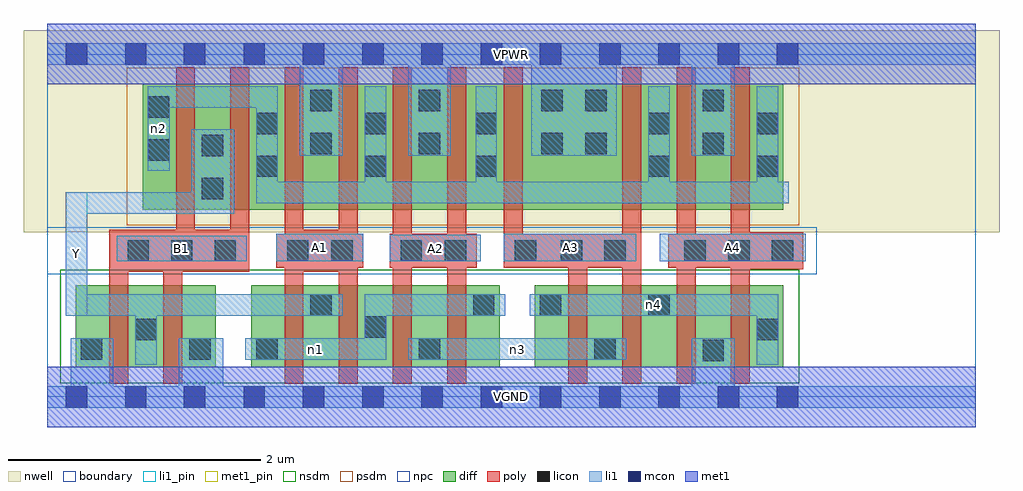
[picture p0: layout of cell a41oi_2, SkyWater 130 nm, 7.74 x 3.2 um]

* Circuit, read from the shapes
.subckt a41oi_2 A1 A2 A3 A4 B1 VGND VPWR Y n1 n2 n3 n4
XM1 Y B1 VGND VSUBS sky130_fd_pr__nfet_01v8 w=0.65 l=0.15 m=2
XM2 Y A1 n1 VSUBS sky130_fd_pr__nfet_01v8 w=0.65 l=0.15 m=2
XM3 n3 A2 n1 VSUBS sky130_fd_pr__nfet_01v8 w=0.65 l=0.15 m=2
XM4 n3 A3 n4 VSUBS sky130_fd_pr__nfet_01v8 w=0.65 l=0.15 m=2
XM5 VGND A4 n4 VSUBS sky130_fd_pr__nfet_01v8 w=0.65 l=0.15 m=2
XM6 Y B1 n2 n5 sky130_fd_pr__pfet_01v8 w=1 l=0.15 m=2
XM7 VPWR A1 n2 n5 sky130_fd_pr__pfet_01v8 w=1 l=0.15 m=2
XM8 VPWR A2 n2 n5 sky130_fd_pr__pfet_01v8 w=1 l=0.15 m=2
XM9 VPWR A3 n2 n5 sky130_fd_pr__pfet_01v8 w=1 l=0.15 m=2
XM10 VPWR A4 n2 n5 sky130_fd_pr__pfet_01v8 w=1 l=0.15 m=2
.ends

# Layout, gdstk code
import gdstk
lib = gdstk.Library(unit=1e-6, precision=1e-09)
def R(c, l, rs):  # rectangles x0, y0, x1, y1
    for r in rs: c.add(gdstk.rectangle(r[:2], r[2:], *l))
def A(c, l, x, y, w, h, nx, ny, dx, dy):  # array of equal rectangles
    R(c, l, [(x+i*dx, y+j*dy, x+i*dx+w, y+j*dy+h) for i in range(nx) for j in range(ny)])
nwell = (64, 20)
diff = (65, 20)
poly = (66, 20)
licon = (66, 44)
li1_pin = (67, 16)
li1 = (67, 20)
mcon = (67, 44)
met1_pin = (68, 16)
met1 = (68, 20)
nsdm = (93, 44)
psdm = (94, 20)
npc = (95, 20)
boundary = (235, 4)

a41oi_2 = lib.new_cell('a41oi_2')
R(a41oi_2, nwell, [(-0.19,1.305,7.55,2.91), (0,1.305,7.36,2.91)])
R(a41oi_2, diff, [(0.225,0.235,1.335,0.885), (1.615,0.235,3.585,0.885), (3.865,0.235,5.835,0.885), (0.755,1.485,5.835,2.485)])
A(a41oi_2, poly, 1.88, 0.105, 0.15, 2.51, 4, 1, 0.43, 0)
A(a41oi_2, poly, 4.56, 0.105, 0.15, 2.51, 3, 1, 0.43, 0)
R(a41oi_2, poly, [(0.49,0.105,0.64,1.325), (0.92,0.105,1.07,1.325), (4.13,0.105,4.28,1.295), (0.49,0.995,1.6,1.325), (1.02,0.995,1.17,2.615), (1.45,0.995,1.6,2.615), (1.88,0.995,2.46,1.325), (5.42,1.015,5.995,1.305), (1.815,1.025,2.505,1.295), (2.715,1.025,3.405,1.295), (3.62,1.025,4.71,1.295), (3.62,1.025,3.77,2.615), (4.925,1.025,5.995,1.295)])
A(a41oi_2, licon, 0.635, 1.075, 0.17, 0.17, 3, 1, 0.345, 0)
R(a41oi_2, licon, [(5.195,0.285,5.365,0.455), (0.265,0.295,0.435,0.465), (1.125,0.295,1.295,0.465), (1.655,0.295,1.825,0.465), (2.945,0.295,3.115,0.465), (4.335,0.295,4.505,0.465), (0.695,0.45,0.865,0.62), (5.625,0.45,5.795,0.62), (2.515,0.47,2.685,0.64), (2.085,0.645,2.255,0.815), (3.375,0.645,3.545,0.815), (3.905,0.645,4.075,0.815), (4.765,0.645,4.935,0.815), (1.9,1.075,2.07,1.245), (2.25,1.075,2.42,1.245), (2.8,1.075,2.97,1.245), (3.15,1.075,3.32,1.245), (3.705,1.075,3.875,1.245), (4.07,1.075,4.24,1.245), (4.415,1.075,4.585,1.245), (5.05,1.075,5.22,1.245), (5.4,1.075,5.57,1.245), (5.745,1.075,5.915,1.245), (1.225,1.57,1.395,1.74), (1.655,1.745,1.825,1.915), (2.515,1.745,2.685,1.915), (3.395,1.745,3.565,1.915), (4.765,1.745,4.935,1.915), (5.625,1.745,5.795,1.915), (0.795,1.875,0.965,2.045), (1.225,1.91,1.395,2.08), (2.085,1.925,2.255,2.095), (2.945,1.925,3.115,2.095), (3.915,1.925,4.085,2.095), (4.265,1.925,4.435,2.095), (5.195,1.925,5.365,2.095), (1.655,2.085,1.825,2.255), (2.515,2.085,2.685,2.255), (3.395,2.085,3.565,2.255), (4.765,2.085,4.935,2.255), (5.625,2.085,5.795,2.255), (0.795,2.215,0.965,2.385), (2.085,2.265,2.255,2.435), (2.945,2.265,3.115,2.435), (3.915,2.265,4.085,2.435), (4.265,2.265,4.435,2.435), (5.195,2.265,5.365,2.435)])
R(a41oi_2, li1_pin, [(0.145,0.645,0.315,1.625), (0.55,1.075,1.58,1.28), (1.815,1.075,2.505,1.295), (2.715,1.075,3.435,1.285), (3.62,1.075,4.67,1.295), (4.855,1.075,6.015,1.295)])
R(a41oi_2, li1, [(0,-0.085,7.36,0.085), (0.185,-0.085,0.52,0.465), (1.04,-0.085,1.395,0.465), (5.11,-0.085,5.45,0.465), (0.695,0.255,0.865,0.815), (5.625,0.255,5.795,0.815), (1.57,0.295,2.685,0.465), (2.515,0.295,2.685,0.815), (2.86,0.295,4.59,0.465), (0.145,0.645,2.34,0.815), (0.145,0.645,0.315,1.625), (2.515,0.645,3.63,0.815), (3.825,0.645,5.795,0.815), (0.55,1.075,1.58,1.28), (1.815,1.075,2.505,1.295), (2.715,1.075,3.435,1.285), (3.62,1.075,4.67,1.295), (4.855,1.075,6.015,1.295), (0.145,1.455,1.48,1.625), (1.14,1.455,1.48,2.125), (1.655,1.535,5.88,1.705), (1.655,1.535,1.825,2.465), (2.515,1.535,2.685,2.465), (3.395,1.535,3.565,2.465), (4.765,1.535,4.935,2.465), (5.625,1.535,5.795,2.465), (0.795,1.795,0.97,2.465), (2,1.915,2.34,2.805), (2.86,1.915,3.2,2.805), (3.835,1.915,4.515,2.805), (5.11,1.915,5.45,2.805), (0.795,2.295,1.825,2.465), (0,2.635,7.36,2.805)])
A(a41oi_2, mcon, 1.555, -0.085, 0.17, 0.17, 10, 2, 0.47, 2.72)
R(a41oi_2, mcon, [(0.145,-0.085,0.315,0.085), (0.615,-0.085,0.785,0.085), (1.08,-0.085,1.25,0.085), (0.145,2.635,0.315,2.805), (0.615,2.635,0.785,2.805), (1.08,2.635,1.25,2.805)])
R(a41oi_2, met1_pin, [(0,-0.24,7.36,0.24), (0,2.48,7.36,2.96)])
R(a41oi_2, met1, [(0,-0.24,7.36,0.24), (0,2.48,7.36,2.96)])
R(a41oi_2, nsdm, [(0.1,0.11,5.96,1.01)])
R(a41oi_2, psdm, [(0.63,1.36,5.96,2.61)])
R(a41oi_2, npc, [(0,0.975,6.1,1.345)])
R(a41oi_2, boundary, [(0,0,7.36,2.72)])
a41oi_2.add(gdstk.Label('A1', (2.16,1.185), layer=67, texttype=5))
a41oi_2.add(gdstk.Label('A2', (3.075,1.18), layer=67, texttype=5))
a41oi_2.add(gdstk.Label('A3', (4.145,1.185), layer=67, texttype=5))
a41oi_2.add(gdstk.Label('A4', (5.435,1.185), layer=67, texttype=5))
a41oi_2.add(gdstk.Label('B1', (1.065,1.177), layer=67, texttype=5))
a41oi_2.add(gdstk.Label('Y', (0.23,1.135), layer=67, texttype=5))
a41oi_2.add(gdstk.Label('n3', (3.725,0.38), layer=67, texttype=5))
a41oi_2.add(gdstk.Label('n1', (2.127,0.38), layer=67, texttype=5))
a41oi_2.add(gdstk.Label('n4', (4.81,0.73), layer=67, texttype=5))
a41oi_2.add(gdstk.Label('n2', (0.882,2.13), layer=67, texttype=5))
a41oi_2.add(gdstk.Label('VPWR', (3.68,2.72), layer=68, texttype=5))
a41oi_2.add(gdstk.Label('VGND', (3.68,0), layer=68, texttype=5))
a41oi_2.add(gdstk.Label('A1', (2.16,1.185), layer=67, texttype=16))
a41oi_2.add(gdstk.Label('A2', (3.075,1.18), layer=67, texttype=16))
a41oi_2.add(gdstk.Label('A3', (4.145,1.185), layer=67, texttype=16))
a41oi_2.add(gdstk.Label('A4', (5.435,1.185), layer=67, texttype=16))
a41oi_2.add(gdstk.Label('B1', (1.065,1.177), layer=67, texttype=16))
a41oi_2.add(gdstk.Label('Y', (0.23,1.135), layer=67, texttype=16))
a41oi_2.add(gdstk.Label('VPWR', (3.68,2.72), layer=68, texttype=16))
a41oi_2.add(gdstk.Label('VGND', (3.68,0), layer=68, texttype=16))

lib.write_gds('a41oi_2.gds')
